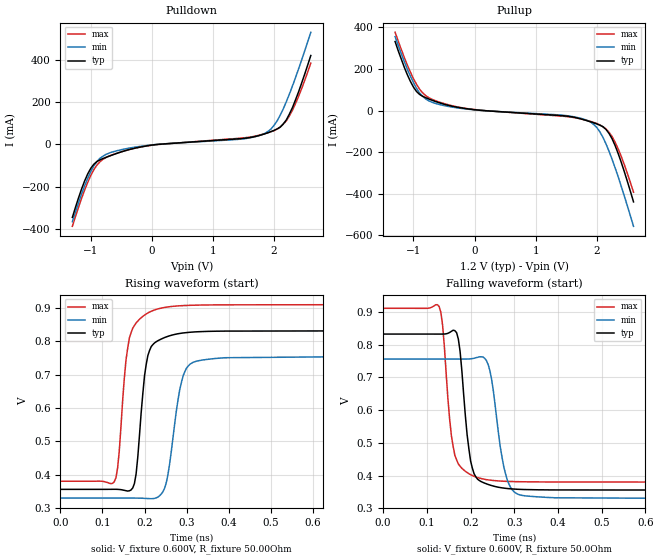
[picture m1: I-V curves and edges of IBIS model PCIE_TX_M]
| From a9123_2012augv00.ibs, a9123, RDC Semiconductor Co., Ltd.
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[Model]   PCIE_TX_M
Model_type   Output
Vmeas = 0.6V
|   typ   min   max
C_comp   0.535pF   0.670pF   0.583pF
[Voltage Range]   1.200V   1.100V   1.300V
[Temperature Range]   25   125   125
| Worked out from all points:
|   slope of the pulldown table from 0 to 0.18 V, typ, clamps not added: 35.4 ohm
|   slope of the pullup table from 0 to 0.18 V, typ, clamps not added: 37.1 ohm
|   falling waveform, V_fixture 0.600V, R_fixture 50.0Ohm: 20-80 % time 20.4ps typ, 27.5ps min, 21.2ps max; typ from 0.832 V to 0.356 V
|   rising waveform, V_fixture 0.600V, R_fixture 50.00Ohm: 20-80 % time 21ps typ, 29ps min, 22.4ps max; typ from 0.356 V to 0.832 V
[Pulldown]
|   Voltage   I(typ)   I(min)   I(max)
-1.3V     -345.7mA   -365.8mA   -388mA
-1.15V    -212mA     -235.6mA   -256.3mA
-1V       -114.2mA   -129.5mA   -148.2mA
-850mV    -73.8mA    -66.65mA   -83.11mA
-700mV    -56.41mA   -41.83mA   -55.58mA
0V        -3.808mA   -2.969mA   -4.488mA
1.55V     29.46mA    27.82mA    31.96mA
1.95V     60.1mA     72.41mA    59.45mA
2.05V     72.51mA    111.1mA    72.23mA
2.2V      115.3mA    201.6mA    111.1mA
2.4V      248.1mA    356.6mA    226.1mA
2.6V      419.9mA    529.8mA    383.8mA
[Pullup]
|   Voltage   I(typ)   I(min)   I(max)
-1.3V     331.8mA    355.1mA    376.3mA
-1.15V    208.4mA    235.8mA    256mA
-1V       112.8mA    134.6mA    153.1mA
-900mV    77.53mA    84.3mA     103.1mA
-700mV    50mA       40.11mA    54.33mA
-100mV    7.599mA    6.131mA    8.484mA
1.45V     -25.31mA   -22.84mA   -27.61mA
1.9V      -54.57mA   -55.5mA    -52.66mA
2.05V     -70.42mA   -102.7mA   -69.13mA
2.25V     -136.1mA   -235.1mA   -125.7mA
2.4V      -249.7mA   -365.1mA   -221.4mA
2.6V      -439.2mA   -556.8mA   -392.9mA
[Ramp]
R_load = 50.0Ohm
|   typ   min   max
dV/dt_r   314.8mV/20.83ps   272.2mV/28.78ps   356.6mV/21.89ps
dV/dt_f   326.9mV/20.22ps   285.2mV/27.31ps   367.4mV/21.05ps
[Falling Waveform]
V_fixture = 0.600V
V_fixture_min = 0.550V
V_fixture_max = 0.650V
R_fixture = 50.0Ohm
|   Time   V(typ)   V(min)   V(max)
0s        832mV      755.6mV    910.6mV
128ps     831.9mV    755.6mV    916mV
136ps     832mV      755.6mV    858.5mV
156ps     840.2mV    755.6mV    523mV
168ps     836.1mV    755.6mV    447.9mV
204ps     422.9mV    757.1mV    400.3mV
240ps     373.1mV    739.4mV    387mV
276ps     361.9mV    426.5mV    382.8mV
308ps     358.3mV    343.4mV    381.5mV
800ps     355.8mV    329.6mV    380.2mV
[Rising Waveform]
V_fixture = 0.600V
V_fixture_min = 0.550V
V_fixture_max = 0.650V
R_fixture = 50.00Ohm
|   Time   V(typ)   V(min)   V(max)
0s        355.8mV    329.6mV    380.2mV
128ps     356mV      329.6mV    378.5mV
140ps     355.5mV    329.6mV    472mV
156ps     351.7mV    329.6mV    744.5mV
172ps     360.1mV    329.6mV    839.9mV
212ps     773mV      327.9mV    888.4mV
248ps     811.9mV    360.1mV    902.3mV
284ps     824.1mV    656.6mV    907.2mV
312ps     828.1mV    734.8mV    908.8mV
800ps     832mV      755.6mV    910.6mV
